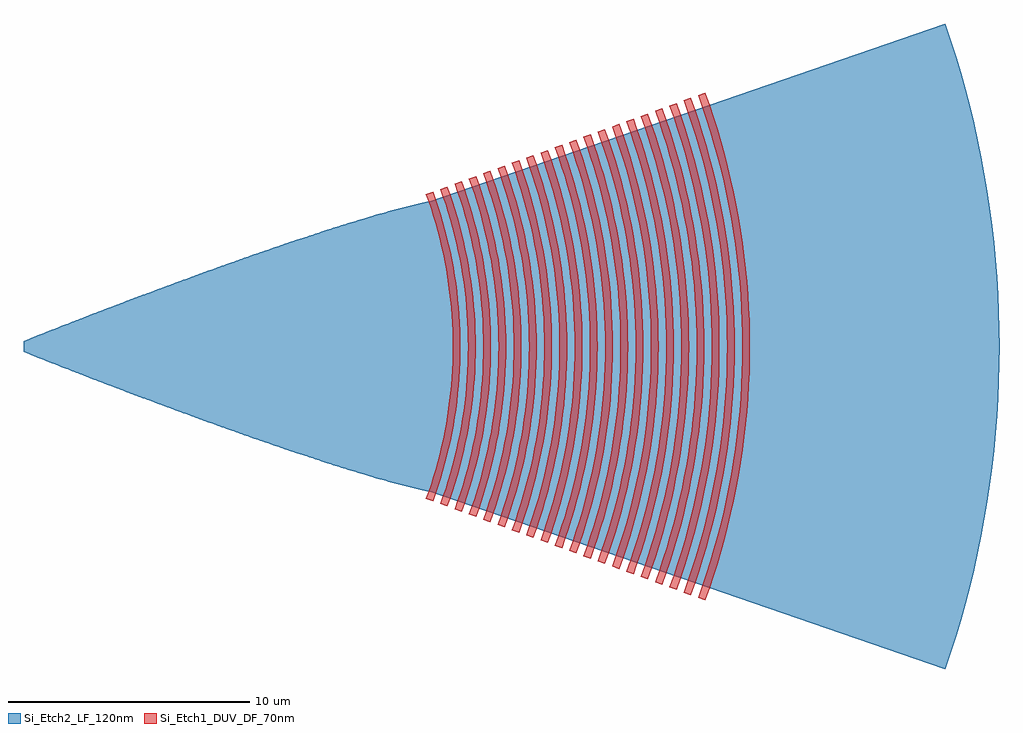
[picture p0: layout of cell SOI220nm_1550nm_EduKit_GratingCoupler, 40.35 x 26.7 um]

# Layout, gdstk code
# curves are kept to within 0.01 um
import gdstk
lib = gdstk.Library(unit=1e-6, precision=1e-09)
def P(c, l, *ps):  # polygons
    for p in ps: c.add(gdstk.Polygon(p, *l))
Si_Etch2_LF_120nm = (3, 0)
Si_Etch1_DUV_DF_70nm = (6, 0)

soi220nm_1550nm_edukit_g = lib.new_cell('SOI220nm_1550nm_EduKit_GratingCoupler')
P(soi220nm_1550nm_edukit_g, Si_Etch2_LF_120nm, [(38.113,-13.348),(16.745,-5.99),(16.326,-5.908),(15.572,-5.72),(13.563,-5.137),(11.386,-4.435),(8.707,-3.512),(6.614,-2.756),(4.521,-1.976),(0,-0.225),(0,0.225),(2.763,1.305),(5.442,2.322),(8.121,3.303),(9.963,3.952),(12.307,4.739),(14.065,5.29),(15.74,5.764),(16.326,5.908),(16.745,5.99),(38.113,13.348),(38.555,11.987),(38.95,10.612),(39.129,9.919),(39.451,8.524),(39.724,7.12),(39.948,5.706),(40.041,4.997),(40.191,3.573),(40.291,2.146),(40.341,0.716),(40.347,0),(40.341,-0.716),(40.291,-2.146),(40.191,-3.573),(40.122,-4.286),(39.948,-5.706),(39.724,-7.12),(39.451,-8.524),(39.296,-9.223),(38.95,-10.612),(38.555,-11.987)])
P(soi220nm_1550nm_edukit_g, Si_Etch1_DUV_DF_70nm, [(16.934,-6.399),(16.637,-6.293),(16.943,-5.38),(17.12,-4.762),(17.345,-3.826),(17.467,-3.195),(17.568,-2.561),(17.677,-1.604),(17.722,-0.963),(17.747,0),(17.722,0.963),(17.677,1.604),(17.568,2.561),(17.467,3.195),(17.345,3.826),(17.12,4.762),(16.943,5.38),(16.637,6.293),(16.934,6.399),(17.244,5.472),(17.424,4.843),(17.653,3.892),(17.777,3.249),(17.88,2.605),(17.991,1.632),(18.037,0.98),(18.062,0),(18.037,-0.98),(17.991,-1.632),(17.88,-2.605),(17.777,-3.249),(17.653,-3.892),(17.424,-4.843),(17.244,-5.472)],
  [(17.526,-6.614),(17.229,-6.509),(17.446,-5.881),(17.729,-4.925),(17.961,-3.957),(18.088,-3.305),(18.192,-2.648),(18.305,-1.659),(18.351,-0.996),(18.377,0),(18.351,0.996),(18.305,1.659),(18.192,2.648),(18.088,3.305),(17.961,3.957),(17.729,4.925),(17.446,5.881),(17.229,6.509),(17.526,6.614),(17.746,5.978),(18.033,5.007),(18.196,4.352),(18.398,3.36),(18.504,2.692),(18.619,1.687),(18.666,1.012),(18.692,0),(18.666,-1.012),(18.619,-1.687),(18.504,-2.692),(18.398,-3.36),(18.196,-4.352),(18.033,-5.007),(17.746,-5.978)],
  [(18.118,-6.83),(17.821,-6.724),(18.045,-6.075),(18.337,-5.088),(18.503,-4.423),(18.708,-3.414),(18.816,-2.736),(18.932,-1.713),(18.98,-1.029),(19.007,0),(18.98,1.029),(18.932,1.713),(18.816,2.736),(18.708,3.414),(18.503,4.423),(18.337,5.088),(18.045,6.075),(17.821,6.724),(18.118,6.83),(18.345,6.172),(18.641,5.17),(18.81,4.494),(19.018,3.469),(19.128,2.78),(19.246,1.741),(19.295,1.046),(19.322,0),(19.295,-1.046),(19.246,-1.741),(19.128,-2.78),(19.018,-3.469),(18.81,-4.494),(18.641,-5.17),(18.345,-6.172)],
  [(18.71,-7.046),(18.413,-6.94),(18.644,-6.27),(18.946,-5.251),(19.194,-4.219),(19.329,-3.523),(19.44,-2.824),(19.56,-1.768),(19.625,-0.708),(19.637,0),(19.625,0.708),(19.56,1.768),(19.44,2.824),(19.329,3.523),(19.194,4.219),(18.946,5.251),(18.644,6.27),(18.413,6.94),(18.71,7.046),(18.944,6.367),(19.25,5.332),(19.502,4.284),(19.639,3.578),(19.752,2.868),(19.874,1.796),(19.94,0.719),(19.952,0),(19.94,-0.719),(19.874,-1.796),(19.752,-2.868),(19.639,-3.578),(19.502,-4.284),(19.25,-5.332),(18.944,-6.367)],
  [(19.302,-7.26),(19.005,-7.155),(19.243,-6.465),(19.554,-5.414),(19.81,-4.35),(19.949,-3.633),(20.111,-2.55),(20.187,-1.823),(20.238,-1.095),(20.267,0),(20.238,1.095),(20.187,1.823),(20.111,2.55),(19.949,3.633),(19.81,4.35),(19.554,5.414),(19.243,6.465),(19.005,7.155),(19.302,7.26),(19.543,6.562),(19.858,5.496),(20.038,4.777),(20.259,3.687),(20.424,2.588),(20.501,1.851),(20.553,1.111),(20.582,0),(20.553,-1.111),(20.501,-1.851),(20.424,-2.588),(20.259,-3.687),(20.038,-4.777),(19.858,-5.496),(19.543,-6.562)],
  [(19.894,-7.476),(19.597,-7.371),(19.842,-6.659),(20.163,-5.578),(20.345,-4.848),(20.57,-3.742),(20.687,-2.999),(20.815,-1.878),(20.884,-0.752),(20.897,0),(20.884,0.752),(20.815,1.878),(20.687,2.999),(20.57,3.742),(20.345,4.848),(20.163,5.578),(19.842,6.659),(19.597,7.371),(19.894,7.476),(20.142,6.756),(20.467,5.66),(20.652,4.919),(20.88,3.797),(21.049,2.665),(21.129,1.906),(21.199,0.763),(21.212,0),(21.199,-0.763),(21.129,-1.906),(21.049,-2.665),(20.88,-3.797),(20.652,-4.919),(20.467,-5.66),(20.142,-6.756)],
  [(20.486,-7.692),(20.189,-7.586),(20.558,-6.485),(20.771,-5.741),(20.959,-4.989),(21.19,-3.852),(21.362,-2.703),(21.443,-1.933),(21.497,-1.161),(21.527,0),(21.497,1.161),(21.443,1.933),(21.362,2.703),(21.19,3.852),(20.959,4.989),(20.771,5.741),(20.558,6.485),(20.189,7.586),(20.486,7.692),(20.859,6.577),(21.075,5.822),(21.266,5.06),(21.5,3.907),(21.675,2.741),(21.757,1.961),(21.812,1.177),(21.842,0),(21.812,-1.177),(21.757,-1.961),(21.675,-2.741),(21.5,-3.907),(21.266,-5.06),(21.075,-5.822),(20.859,-6.577)],
  [(21.078,-7.906),(20.781,-7.801),(21.041,-7.049),(21.38,-5.904),(21.659,-4.742),(21.81,-3.961),(21.935,-3.175),(22.07,-1.988),(22.126,-1.194),(22.157,0),(22.126,1.194),(22.07,1.988),(21.935,3.175),(21.81,3.961),(21.659,4.742),(21.38,5.904),(21.041,7.049),(20.781,7.801),(21.078,7.906),(21.341,7.146),(21.684,5.986),(21.967,4.808),(22.12,4.016),(22.3,2.818),(22.384,2.015),(22.441,1.211),(22.472,0),(22.441,-1.211),(22.384,-2.015),(22.3,-2.818),(22.12,-4.016),(21.967,-4.808),(21.684,-5.986),(21.341,-7.146)],
  [(21.67,-8.122),(21.373,-8.017),(21.64,-7.243),(21.988,-6.067),(22.275,-4.873),(22.431,-4.07),(22.559,-3.262),(22.698,-2.043),(22.773,-0.818),(22.787,0),(22.773,0.818),(22.698,2.043),(22.559,3.262),(22.431,4.07),(22.275,4.873),(21.988,6.067),(21.763,6.853),(21.373,8.017),(21.67,8.122),(21.94,7.34),(22.292,6.149),(22.493,5.344),(22.741,4.125),(22.871,3.306),(23.012,2.07),(23.07,1.244),(23.102,0),(23.07,-1.244),(23.012,-2.07),(22.871,-3.306),(22.741,-4.125),(22.493,-5.344),(22.292,-6.149),(21.94,-7.34)],
  [(22.262,-8.338),(21.965,-8.232),(22.239,-7.438),(22.597,-6.23),(22.8,-5.415),(23.051,-4.18),(23.238,-2.933),(23.325,-2.098),(23.384,-1.26),(23.417,0),(23.384,1.26),(23.325,2.098),(23.238,2.933),(23.051,4.18),(22.8,5.415),(22.597,6.23),(22.239,7.438),(21.965,8.232),(22.262,8.338),(22.539,7.535),(22.901,6.311),(23.107,5.486),(23.361,4.235),(23.551,2.971),(23.639,2.125),(23.699,1.276),(23.732,0),(23.699,-1.276),(23.639,-2.125),(23.551,-2.971),(23.361,-4.235),(23.107,-5.486),(22.901,-6.311),(22.539,-7.535)],
  [(22.854,-8.553),(22.557,-8.448),(22.968,-7.222),(23.205,-6.393),(23.414,-5.556),(23.672,-4.289),(23.807,-3.438),(23.953,-2.153),(24.032,-0.862),(24.047,0),(24.032,0.862),(23.953,2.153),(23.807,3.438),(23.672,4.289),(23.414,5.556),(23.205,6.393),(22.968,7.222),(22.557,8.448),(22.854,8.553),(23.138,7.731),(23.509,6.474),(23.721,5.627),(23.982,4.344),(24.119,3.482),(24.267,2.18),(24.328,1.309),(24.362,0),(24.347,-0.873),(24.267,-2.18),(24.119,-3.482),(23.982,-4.344),(23.721,-5.627),(23.509,-6.474),(23.138,-7.731)],
  [(23.446,-8.769),(23.149,-8.663),(23.57,-7.406),(23.814,-6.556),(24.028,-5.698),(24.292,-4.399),(24.488,-3.087),(24.581,-2.208),(24.662,-0.884),(24.677,0),(24.662,0.884),(24.581,2.208),(24.488,3.087),(24.292,4.399),(24.028,5.698),(23.814,6.556),(23.57,7.406),(23.149,8.663),(23.446,8.769),(23.737,7.924),(24.118,6.638),(24.335,5.769),(24.602,4.454),(24.801,3.126),(24.895,2.235),(24.977,0.895),(24.992,0),(24.977,-0.895),(24.895,-2.235),(24.801,-3.126),(24.602,-4.454),(24.335,-5.769),(24.118,-6.638),(23.737,-7.924)],
  [(24.038,-8.985),(23.741,-8.879),(24.173,-7.59),(24.422,-6.719),(24.642,-5.84),(24.913,-4.508),(25.054,-3.613),(25.208,-2.263),(25.291,-0.906),(25.307,0),(25.291,0.906),(25.208,2.263),(25.113,3.164),(24.913,4.508),(24.642,5.84),(24.422,6.719),(24.173,7.59),(23.741,8.879),(24.038,8.985),(24.474,7.682),(24.726,6.801),(24.949,5.911),(25.223,4.563),(25.426,3.203),(25.522,2.29),(25.586,1.375),(25.622,0),(25.606,-0.917),(25.522,-2.29),(25.426,-3.203),(25.223,-4.563),(24.949,-5.911),(24.726,-6.801),(24.474,-7.682)],
  [(24.63,-9.199),(24.333,-9.094),(24.636,-8.217),(25.031,-6.882),(25.256,-5.981),(25.533,-4.617),(25.739,-3.241),(25.836,-2.317),(25.901,-1.392),(25.937,0),(25.901,1.392),(25.836,2.317),(25.739,3.241),(25.533,4.617),(25.256,5.981),(25.031,6.882),(24.636,8.217),(24.333,9.094),(24.63,9.199),(24.936,8.314),(25.335,6.964),(25.563,6.052),(25.843,4.672),(26.052,3.279),(26.15,2.345),(26.216,1.409),(26.252,0),(26.216,-1.409),(26.15,-2.345),(26.052,-3.279),(25.843,-4.672),(25.563,-6.052),(25.335,-6.964),(24.936,-8.314)],
  [(25.222,-9.415),(24.925,-9.31),(25.235,-8.411),(25.64,-7.045),(25.972,-5.659),(26.153,-4.727),(26.302,-3.788),(26.463,-2.372),(26.53,-1.425),(26.567,0),(26.53,1.425),(26.463,2.372),(26.364,3.317),(26.153,4.727),(25.972,5.659),(25.64,7.045),(25.378,7.958),(24.925,9.31),(25.222,9.415),(25.535,8.508),(25.944,7.126),(26.28,5.725),(26.463,4.782),(26.677,3.355),(26.777,2.4),(26.845,1.441),(26.882,0),(26.845,-1.441),(26.777,-2.4),(26.677,-3.355),(26.463,-4.782),(26.28,-5.725),(25.944,-7.126),(25.535,-8.508)],
  [(25.814,-9.631),(25.517,-9.525),(25.834,-8.606),(26.248,-7.208),(26.483,-6.265),(26.774,-4.836),(26.926,-3.876),(27.091,-2.427),(27.159,-1.458),(27.197,0),(27.159,1.458),(27.091,2.427),(26.926,3.876),(26.774,4.836),(26.483,6.265),(26.248,7.208),(25.834,8.606),(25.517,9.525),(25.814,9.631),(26.134,8.703),(26.552,7.29),(26.79,6.336),(27.084,4.891),(27.238,3.92),(27.405,2.455),(27.474,1.475),(27.512,0),(27.474,-1.475),(27.405,-2.455),(27.238,-3.92),(27.084,-4.891),(26.79,-6.336),(26.552,-7.29),(26.134,-8.703)],
  [(26.406,-9.846),(26.109,-9.741),(26.583,-8.327),(26.857,-7.371),(27.205,-5.921),(27.394,-4.946),(27.55,-3.964),(27.719,-2.482),(27.81,-0.994),(27.827,0),(27.81,0.994),(27.719,2.482),(27.55,3.964),(27.394,4.946),(27.205,5.921),(26.857,7.371),(26.583,8.327),(26.109,9.741),(26.406,9.846),(26.733,8.899),(27.161,7.452),(27.513,5.987),(27.704,5.001),(27.928,3.509),(28.033,2.51),(28.125,1.005),(28.142,0),(28.125,-1.005),(28.033,-2.51),(27.928,-3.509),(27.704,-5.001),(27.513,-5.987),(27.161,-7.452),(26.733,-8.899)],
  [(26.998,-10.061),(26.701,-9.956),(27.185,-8.511),(27.465,-7.534),(27.711,-6.548),(28.015,-5.055),(28.174,-4.051),(28.346,-2.537),(28.417,-1.523),(28.457,0),(28.417,1.523),(28.346,2.537),(28.174,4.051),(28.015,5.055),(27.711,6.548),(27.465,7.534),(27.185,8.511),(26.701,9.956),(26.998,10.061),(27.332,9.092),(27.769,7.615),(28.018,6.619),(28.325,5.11),(28.553,3.586),(28.66,2.564),(28.732,1.539),(28.772,0),(28.732,-1.539),(28.66,-2.564),(28.553,-3.586),(28.325,-5.11),(28.018,-6.619),(27.769,-7.615),(27.332,-9.092)],
  [(27.59,-10.277),(27.293,-10.172),(27.788,-8.695),(28.204,-7.195),(28.541,-5.675),(28.798,-4.139),(28.924,-3.109),(29.015,-2.075),(29.069,-1.038),(29.087,0),(29.069,1.038),(29.015,2.075),(28.924,3.109),(28.798,4.139),(28.541,5.675),(28.204,7.195),(27.788,8.695),(27.293,10.172),(27.59,10.277),(28.089,8.787),(28.378,7.779),(28.632,6.761),(28.945,5.219),(29.11,4.183),(29.288,2.62),(29.384,1.049),(29.402,0),(29.384,-1.049),(29.288,-2.62),(29.11,-4.183),(28.945,-5.219),(28.632,-6.761),(28.378,-7.779),(28.089,-8.787)],
  [(28.182,-10.492),(27.885,-10.387),(28.39,-8.879),(28.815,-7.347),(29.159,-5.795),(29.421,-4.227),(29.551,-3.175),(29.643,-2.119),(29.698,-1.06),(29.717,0),(29.698,1.06),(29.643,2.119),(29.551,3.175),(29.421,4.227),(29.159,5.795),(28.815,7.347),(28.39,8.879),(27.885,10.387),(28.182,10.492),(28.531,9.482),(28.844,8.458),(28.986,7.941),(29.246,6.903),(29.566,5.329),(29.804,3.74),(29.915,2.674),(29.99,1.605),(30.032,0),(29.99,-1.605),(29.915,-2.674),(29.804,-3.74),(29.566,-5.329),(29.246,-6.903),(28.986,-7.941),(28.844,-8.458),(28.531,-9.482)])

lib.write_gds('SOI220nm_1550nm_EduKit_GratingCoupler.gds')
